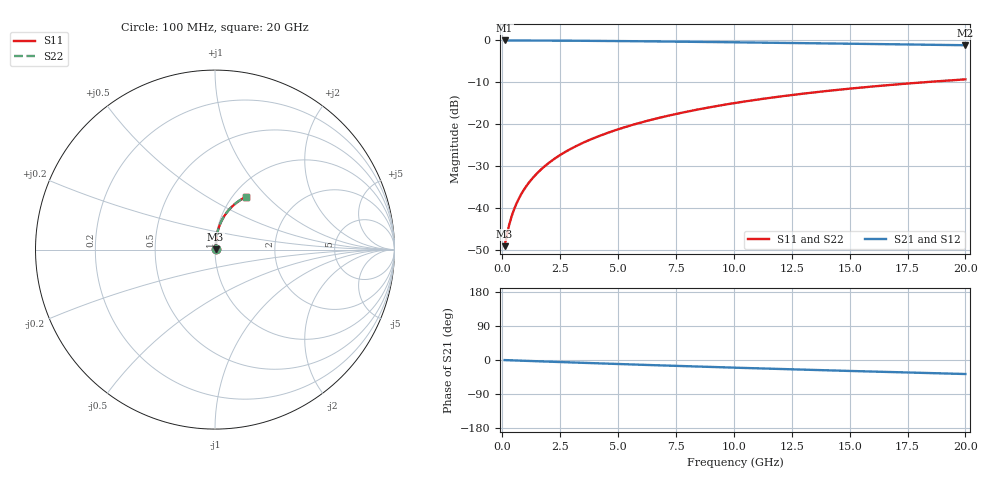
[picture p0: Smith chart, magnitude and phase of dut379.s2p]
! Touchstone file exported from HFSS 2024.1.0
!  File:  C:/UserFiles/LocalFiles/RDL_TSV_Batchsim/temp_RDL_bottom_379_1779613764.aedt
!  Generated:  05:12:23 PM May 24, 2026
!  Design:  RDL_bottom
!  Project:  temp_RDL_bottom_379_1779613764
!  Setup:  Setup1
!  Solution:  Sweep
! Variables:
!  dtsv = 10.80580581um
!  hbump = 3um
!  htsv = 82.08um
!  ldown = 529.29um
!  lrdl = 100um
!  p = 40
!  p1 = 44.11um
!  rhole = 1um
!  t = 450um
!  tdown = 3.47um
!  trdl = 3.915915916um
!  wdown = 19.57um
!  wrdl = 20um
# GHz S MA R 50.000000
! Terminal data exported
! Port[1] = RDL1_T1
! Port[2] = RDL1_T2
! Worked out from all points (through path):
!   200 points, 100 MHz to 20 GHz, reference 50 ohm
!   highest |S21| = -0.03 dB at 100 MHz (marker M1); lowest = -1.2 dB at 20 GHz (marker M2)
!   group delay of S21, straight-line fit = 5.11 ps
!   lowest |S11| = -49.2 dB at 100 MHz (marker M3), VSWR 1.01, Z = 50.3 + j0.188 ohm
!   |S11| at or under -10 dB: start of sweep to 18.24 GHz
!   |S22| runs from -49.2 to -9.3 dB; largest |S21 - S12| = 2.5e-15
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0.1  0.003487 32.5  0.9971 -0.2  0.9971 -0.2  0.003487 32.5
! Gamma 0 0 0 0
! Port Impedance 50 0 50 0
0.2  0.004793 50.3  0.9969 -0.5  0.9969 -0.5  0.004793 50.3
0.3  0.006308 59.4  0.9968 -0.7  0.9968 -0.7  0.006308 59.5
0.4  0.007872 64.9  0.9966 -0.9  0.9966 -0.9  0.007872 64.9
0.5  0.009453 68.6  0.9964 -1.1  0.9964 -1.1  0.009453 68.6
0.6  0.01105 71.3  0.9963 -1.3  0.9963 -1.3  0.01105 71.3
0.8  0.01427 75.0  0.996 -1.8  0.996 -1.8  0.01427 75.0
1.1  0.01918 78.2  0.9955 -2.4  0.9955 -2.4  0.01918 78.2
1.3  0.02249 79.6  0.9952 -2.8  0.9952 -2.8  0.02249 79.6
1.6  0.0275 81.0  0.9945 -3.5  0.9945 -3.5  0.0275 81.0
2.1  0.03594 82.3  0.9933 -4.6  0.9933 -4.6  0.03594 82.3
2.7  0.0462 83.0  0.9914 -5.8  0.9914 -5.8  0.0462 83.0
3.5  0.06007 83.2  0.9882 -7.5  0.9882 -7.5  0.06007 83.2
4.2  0.07237 83.0  0.985 -9.0  0.985 -9.0  0.07238 83.0
5  0.08662 82.5  0.9808 -10.6  0.9808 -10.6  0.08663 82.5
5.9  0.1029 81.6  0.9756 -12.4  0.9756 -12.4  0.1029 81.7
6.8  0.1192 80.6  0.97 -14.2  0.97 -14.2  0.1193 80.6
8.4  0.1485 78.4  0.9594 -17.2  0.9594 -17.2  0.1486 78.5
10.1  0.1796 75.8  0.9475 -20.4  0.9475 -20.4  0.1796 75.9
13.4  0.238 70.4  0.9236 -26.2  0.9236 -26.2  0.2381 70.4
16.7  0.2925 64.8  0.8991 -31.7  0.8991 -31.7  0.2927 64.9
20  0.3421 59.4  0.8745 -37.0  0.8745 -37.0  0.3422 59.5
